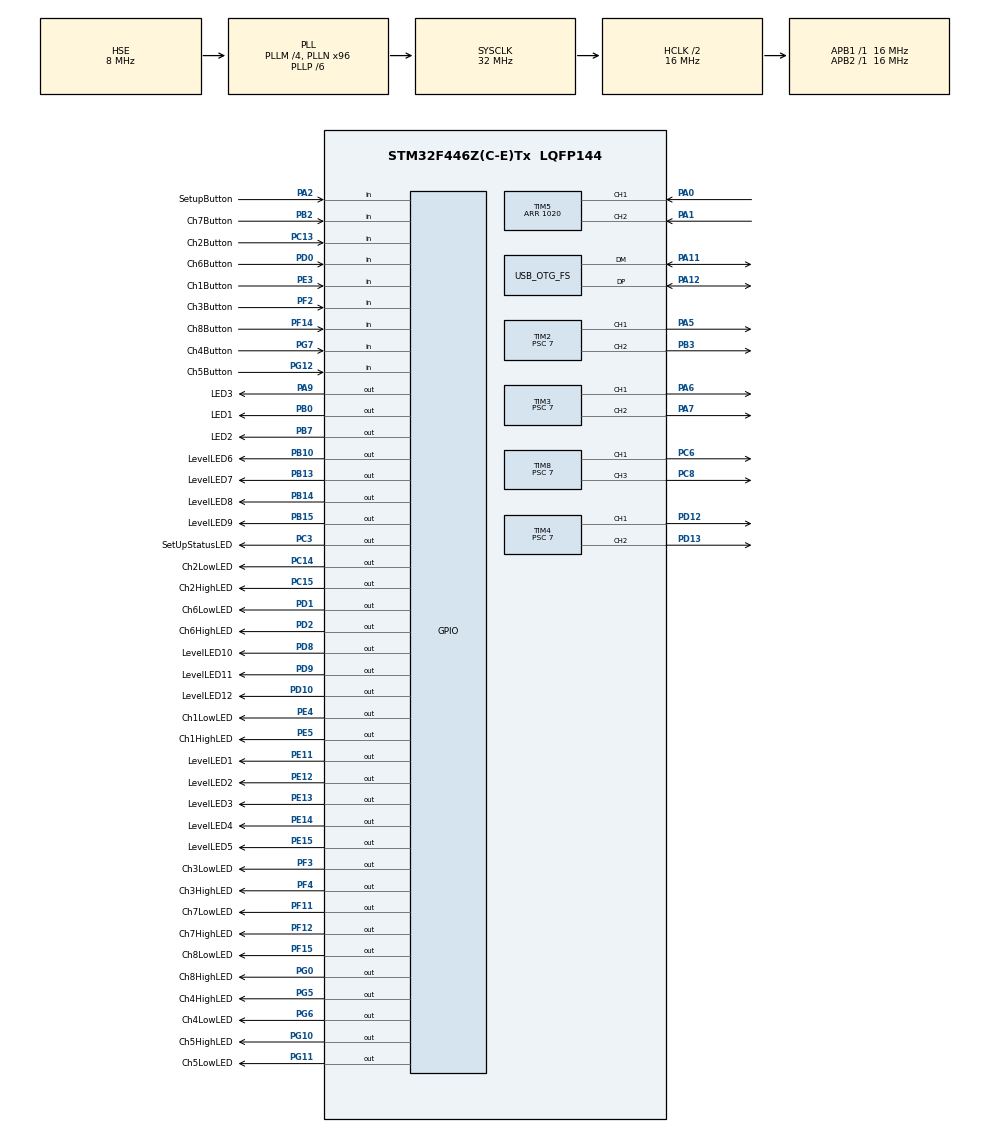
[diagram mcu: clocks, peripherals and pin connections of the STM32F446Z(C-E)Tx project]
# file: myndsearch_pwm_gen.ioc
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Mcu.Family=STM32F4
Mcu.Name=STM32F446Z(C-E)Tx
Mcu.Package=LQFP144
NVIC.OTG_FS_IRQn=true\:0\:0\:false\:false\:true\:false\:true\:true
NVIC.PriorityGroup=NVIC_PRIORITYGROUP_4
PA0-WKUP.Signal=S_TIM5_CH1
PA1.Signal=S_TIM5_CH2
PA11.Mode=Device_Only
PA11.Signal=USB_OTG_FS_DM
PA12.Mode=Device_Only
PA12.Signal=USB_OTG_FS_DP
PA13.Mode=Serial_Wire
PA13.Signal=SYS_JTMS-SWDIO
PA14.Mode=Serial_Wire
PA14.Signal=SYS_JTCK-SWCLK
PA2.GPIO_Label=SetupButton
PA2.Signal=GPIO_Input
PA5.Signal=S_TIM2_CH1_ETR
PA6.Signal=S_TIM3_CH1
PA7.Signal=S_TIM3_CH2
PA9.GPIO_Label=LED3
PA9.Signal=GPIO_Output
PB0.GPIO_Label=LED1
PB0.Signal=GPIO_Output
PB10.GPIO_Label=LevelLED6
PB10.Signal=GPIO_Output
PB13.GPIO_Label=LevelLED7
PB13.Signal=GPIO_Output
PB14.GPIO_Label=LevelLED8
PB14.Signal=GPIO_Output
PB15.GPIO_Label=LevelLED9
PB15.Signal=GPIO_Output
PB2.GPIO_Label=Ch7Button
PB2.Signal=GPIO_Input
PB3.Signal=S_TIM2_CH2
PB7.GPIO_Label=LED2
PB7.Signal=GPIO_Output
PC13.GPIO_Label=Ch2Button
PC13.Signal=GPIO_Input
PC14-OSC32_IN.GPIO_Label=Ch2LowLED
PC14-OSC32_IN.Signal=GPIO_Output
PC15-OSC32_OUT.GPIO_Label=Ch2HighLED
PC15-OSC32_OUT.Signal=GPIO_Output
PC3.GPIO_Label=SetUpStatusLED
PC3.Signal=GPIO_Output
PC6.Signal=S_TIM8_CH1
PC8.Signal=S_TIM8_CH3
PD0.GPIO_Label=Ch6Button
PD0.Signal=GPIO_Input
PD1.GPIO_Label=Ch6LowLED
PD1.Signal=GPIO_Output
PD10.GPIO_Label=LevelLED12
PD10.Signal=GPIO_Output
PD12.Signal=S_TIM4_CH1
PD13.Signal=S_TIM4_CH2
PD2.GPIO_Label=Ch6HighLED
PD2.Signal=GPIO_Output
PD8.GPIO_Label=LevelLED10
PD8.Signal=GPIO_Output
PD9.GPIO_Label=LevelLED11
PD9.Signal=GPIO_Output
PE11.GPIO_Label=LevelLED1
PE11.Signal=GPIO_Output
PE12.GPIO_Label=LevelLED2
PE12.Signal=GPIO_Output
PE13.GPIO_Label=LevelLED3
PE13.Signal=GPIO_Output
PE14.GPIO_Label=LevelLED4
PE14.Signal=GPIO_Output
PE15.GPIO_Label=LevelLED5
PE15.Signal=GPIO_Output
PE3.GPIO_Label=Ch1Button
PE3.Signal=GPIO_Input
PE4.GPIO_Label=Ch1LowLED
PE4.Signal=GPIO_Output
PE5.GPIO_Label=Ch1HighLED
PE5.Signal=GPIO_Output
PF11.GPIO_Label=Ch7LowLED
PF11.Signal=GPIO_Output
PF12.GPIO_Label=Ch7HighLED
PF12.Signal=GPIO_Output
PF14.GPIO_Label=Ch8Button
PF14.Signal=GPIO_Input
PF15.GPIO_Label=Ch8LowLED
PF15.Signal=GPIO_Output
PF2.GPIO_Label=Ch3Button
PF2.Signal=GPIO_Input
PF3.GPIO_Label=Ch3LowLED
PF3.Signal=GPIO_Output
PF4.GPIO_Label=Ch3HighLED
PF4.Signal=GPIO_Output
PG0.GPIO_Label=Ch8HighLED
PG0.Signal=GPIO_Output
PG10.GPIO_Label=Ch5HighLED
PG10.Signal=GPIO_Output
PG11.GPIO_Label=Ch5LowLED
PG11.Signal=GPIO_Output
PG12.GPIO_Label=Ch5Button
PG12.Signal=GPIO_Input
PG5.GPIO_Label=Ch4HighLED
PG5.Signal=GPIO_Output
PG6.GPIO_Label=Ch4LowLED
PG6.Signal=GPIO_Output
PG7.GPIO_Label=Ch4Button
PG7.Signal=GPIO_Input
PH0-OSC_IN.Mode=HSE-External-Oscillator
PH0-OSC_IN.Signal=RCC_OSC_IN
PH1-OSC_OUT.Mode=HSE-External-Oscillator
PH1-OSC_OUT.Signal=RCC_OSC_OUT
ProjectManager.HeapSize=0x200
ProjectManager.StackSize=0x400
ProjectManager.TargetToolchain=STM32CubeIDE
RCC.AHBCLKDivider=RCC_SYSCLK_DIV2
RCC.AHBFreq_Value=16000000
RCC.APB1Freq_Value=16000000
RCC.APB1TimFreq_Value=16000000
RCC.APB2Freq_Value=16000000
RCC.APB2TimFreq_Value=16000000
RCC.CortexFreq_Value=16000000
RCC.HCLKFreq_Value=16000000
RCC.HSE_VALUE=8000000
RCC.PLLM=4
RCC.PLLN=96
RCC.PLLP=RCC_PLLP_DIV6
RCC.PLLQ=4
RCC.SYSCLKFreq_VALUE=32000000
RCC.SYSCLKSource=RCC_SYSCLKSOURCE_PLLCLK
RCC.USBFreq_Value=48000000
RCC.VCOOutputFreq_Value=192000000
SH.S_TIM2_CH1_ETR.0=TIM2_CH1,PWM Generation1 CH1
SH.S_TIM2_CH2.0=TIM2_CH2,PWM Generation2 CH2
SH.S_TIM3_CH1.0=TIM3_CH1,PWM Generation1 CH1
SH.S_TIM3_CH2.0=TIM3_CH2,PWM Generation2 CH2
SH.S_TIM4_CH1.0=TIM4_CH1,PWM Generation1 CH1
SH.S_TIM4_CH2.0=TIM4_CH2,PWM Generation2 CH2
SH.S_TIM5_CH1.0=TIM5_CH1,Encoder_Interface
SH.S_TIM5_CH2.0=TIM5_CH2,Encoder_Interface
SH.S_TIM8_CH1.0=TIM8_CH1,PWM Generation1 CH1
SH.S_TIM8_CH3.0=TIM8_CH3,PWM Generation3 CH3
TIM2.AutoReloadPreload=TIM_AUTORELOAD_PRELOAD_ENABLE
TIM2.Channel-PWM\ Generation1\ CH1=TIM_CHANNEL_1
TIM2.Channel-PWM\ Generation2\ CH2=TIM_CHANNEL_2
TIM2.Period=9999
TIM2.Prescaler=7
TIM2.Pulse-PWM\ Generation1\ CH1=0
TIM3.AutoReloadPreload=TIM_AUTORELOAD_PRELOAD_ENABLE
TIM3.Channel-PWM\ Generation1\ CH1=TIM_CHANNEL_1
TIM3.Channel-PWM\ Generation2\ CH2=TIM_CHANNEL_2
TIM3.Period=9999
TIM3.Prescaler=7
TIM4.AutoReloadPreload=TIM_AUTORELOAD_PRELOAD_ENABLE
TIM4.Channel-PWM\ Generation1\ CH1=TIM_CHANNEL_1
TIM4.Channel-PWM\ Generation2\ CH2=TIM_CHANNEL_2
TIM4.Period=9999
TIM4.Prescaler=7
TIM5.AutoReloadPreload=TIM_AUTORELOAD_PRELOAD_DISABLE
TIM5.EncoderMode=TIM_ENCODERMODE_TI12
TIM5.IC1Filter=10
TIM5.Period=1020
TIM8.AutoReloadPreload=TIM_AUTORELOAD_PRELOAD_ENABLE
TIM8.Channel-PWM\ Generation1\ CH1=TIM_CHANNEL_1
TIM8.Channel-PWM\ Generation3\ CH3=TIM_CHANNEL_3
TIM8.Period=9999
TIM8.Prescaler=7
USB_DEVICE.CLASS_NAME_FS=CDC
USB_DEVICE.PRODUCT_STRING_CDC_FS=MyndSearch PWM Gen
USB_DEVICE.VirtualMode-CDC_FS=Cdc
USB_DEVICE.VirtualModeFS=Cdc_FS
USB_OTG_FS.VirtualMode=Device_Only
VP_TIM2_VS_ClockSourceINT.Mode=Internal
VP_TIM3_VS_ClockSourceINT.Mode=Internal
VP_TIM4_VS_ClockSourceINT.Mode=Internal
VP_TIM8_VS_ClockSourceINT.Mode=Internal
VP_USB_DEVICE_VS_USB_DEVICE_CDC_FS.Mode=CDC_FS
board=custom

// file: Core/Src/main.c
/* USER CODE BEGIN Header */
/**
  ******************************************************************************
  * @file           : main.c
  * @brief          : Main program body
  ******************************************************************************
  * @attention
  *
  * Copyright (c) 2025 STMicroelectronics.
  * All rights reserved.
  *
  * This software is licensed under terms that can be found in the LICENSE file
  * in the root directory of this software component.
  * If no LICENSE file comes with this software, it is provided AS-IS.
  *
  ******************************************************************************
  */
/* USER CODE END Header */
#include "main.h"
#include "usb_device.h"

/* USER CODE BEGIN Includes */
#include "stdio.h"
/* USER CODE END Includes */

/* USER CODE BEGIN PD */

#define DEBOUNCE_THRESHOLD 3

/*uint8_t debounceButton(GPIO_TypeDef *GPIOx, uint16_t GPIO_Pin) {
    static uint8_t counter = 0;  // Debounce counter
    static uint8_t buttonState = 0;  // Stores the stable state of the button

    if (HAL_GPIO_ReadPin(GPIOx, GPIO_Pin) == GPIO_PIN_RESET) {
        if (counter < DEBOUNCE_THRESHOLD) counter++;
    } else {
        if (counter > 0) counter--;
    }

    if (counter >= DEBOUNCE_THRESHOLD) {
        buttonState = 1;
    } else {
        buttonState = 0;
    }

    return buttonState;
}*/

// RELEVANT VARIABLES/ARRAYS
//value from usb
uint8_t channel_value[8] = {0};

//duty cycle value
//uint8_t dutyCycle[8] = {0};
//sample values
uint8_t test[8] = {128, 0, 0, 0, 0 , 0, 0, 0};

// Value for Saving Dlow and Dhigh
// 0 and 1 for channel 1 low, high
// 2 and 3 for channel 2, low, high, etc.
uint8_t duty_cycle_limits[16] = {0};

//Update PWM Function - MEANT TO BE USED DURING OPERATION, NOT FOR TUNING, need to map it to dlow dhigh range
static void updatePWMValues(uint8_t* newDutyCycle) {
    int dutyCycle[8] = {0};

      uint8_t TxBuffer[100] = {'\0'};
      uint8_t TxBufferLen = 100;

    for (int i = 0; i < 8; i++) {
        uint8_t index_low = i * 2;
        uint8_t index_high = index_low + 1;

        // Get the stored Dlow and Dhigh values
        uint8_t Dlow = duty_cycle_limits[index_low];
        uint8_t Dhigh = duty_cycle_limits[index_high];
        //uint8_t Dlow = 0;
        //uint8_t Dhigh = 255;

        // Scale the input value (0-255) to the range between Dlow and Dhigh
        // This produces an integer that may range from 0 to 255
        dutyCycle[i] =  (Dlow +  (((255 - newDutyCycle[i]) * (Dhigh - Dlow)) / 255));

        // Apply the updated duty cycle to the corresponding PWM channel
        switch (i + 1) {
            case 1: TIM3->CCR2 = (dutyCycle[i] * ((TIM3->ARR)+1) ) / 255; break;
            case 2: TIM3->CCR1 = (dutyCycle[i] * ((TIM3->ARR)+1) ) / 255; break;
            case 3: TIM2->CCR1 = (dutyCycle[i] * ((TIM2->ARR)+1) ) / 255; break;
            case 4: TIM4->CCR1 = (dutyCycle[i] * ((TIM4->ARR)+1) ) / 255; break;
            case 5: TIM4->CCR2 = (dutyCycle[i] * ((TIM4->ARR)+1) ) / 255; break;
            case 6: TIM2->CCR2 = (dutyCycle[i] * ((TIM2->ARR)+1) ) / 255; break;
            case 7: TIM8->CCR1 = (dutyCycle[i] * ((TIM8->ARR)+1) ) / 255; break;
            case 8: TIM8->CCR3 = (dutyCycle[i] * ((TIM8->ARR)+1) ) / 255; break;
        }
    }
     //dutyCycle [0] = (newDutyCycle[0] * 10000) / 255;
     //TIM3->CCR2 = dutyCycle[0];
    //sprintf(TxBuffer, "channel1 duty cycle = %d\n", TIM3->CCR2);
    //CDC_Transmit_FS(TxBuffer, TxBufferLen);
}

// Test Rotary Encoder
void RotaryEncoderTest(){
	uint8_t TxBuffer[50] = {'\0'};
	uint8_t TxBufferLen = 50;

	// Start all counter at 0 anyway
	TIM5->CNT = 0;
	while(1)
	{
		// See rotary value can change
		sprintf(TxBuffer, "Encoder Counter Value = %d\n\r", (TIM5->CNT>>2));
		CDC_Transmit_FS(TxBuffer, TxBufferLen);
		HAL_Delay(100);

		if(!HAL_GPIO_ReadPin(GPIOA, GPIO_PIN_2))
		{
			sprintf(TxBuffer, "Button Pressed\n");
			CDC_Transmit_FS(TxBuffer, TxBufferLen);
			break;
		}
	}
}

// Actual Rotary Encoder Usage
void Set_DLow_and_DHigh_For_Channel(uint8_t channel) {
    if (channel == 0 || channel >= 9) {
        return;
    }
	uint8_t TxBuffer[100] = {'\0'};
	uint8_t TxBufferLen = 100;

    uint8_t index_low = (channel - 1) * 2;
    uint8_t index_high = index_low + 1;

    // Initialize both duty cycle limits and reset encoder count
    duty_cycle_limits[index_low] = 0;
    duty_cycle_limits[index_high] = 0;
    TIM5->CNT = 0;

    TurnOffAllChannelLED();

    uint8_t step = 0; // 0 = tuning Dlow, 1 = tuning Dhigh

    while (step < 2) {
        uint8_t index = (step == 0) ? index_low : index_high;
        duty_cycle_limits[index] = (TIM5->CNT) >> 2;

        // Ensure values are within valid range (0-255)
        if (duty_cycle_limits[index] > 255) duty_cycle_limits[index] = 255;
        SetLevelLED(duty_cycle_limits[index_low]); //led bar
        if(step == 1) SetLevelLED(duty_cycle_limits[index_high]);
        uint32_t arr_value = 0;

        sprintf(TxBuffer, "step = %d\n\r,\n duty cycle = %d\n\r,\n index = %d\n\r,\n channel = %d\n\r,\n", step, duty_cycle_limits[index], index, channel);
        		CDC_Transmit_FS(TxBuffer, TxBufferLen);
        		HAL_Delay(1000);
        // Update PWM and turn on corresponding LED for selected channel
        switch (channel) {
            case 1: arr_value = TIM3->ARR;
                    //HAL_GPIO_WritePin(GPIOE, (step == 0) ? Ch1LowLED_Pin : Ch1HighLED_Pin, GPIO_PIN_SET);
                    HAL_GPIO_WritePin(GPIOC, SetUpStatusLED_Pin, GPIO_PIN_RESET); //setup led off
					if(step == 0){
						HAL_GPIO_WritePin(Ch1LowLED_GPIO_Port, Ch1LowLED_Pin,GPIO_PIN_SET);
						HAL_GPIO_WritePin(Ch1HighLED_GPIO_Port, Ch1HighLED_Pin,GPIO_PIN_RESET);
					 } else if(step == 1){
						HAL_GPIO_WritePin(Ch1HighLED_GPIO_Port, Ch1HighLED_Pin,GPIO_PIN_SET);
						HAL_GPIO_WritePin(Ch1LowLED_GPIO_Port, Ch1LowLED_Pin,GPIO_PIN_RESET);
					 }
                    TIM3->CCR2 = (((255 - duty_cycle_limits[index]) * (arr_value+1)) / 255);
                    break;
            case 2: arr_value = TIM3->ARR;
                    //HAL_GPIO_WritePin(GPIOC, (step == 0) ? Ch2LowLED_Pin : Ch2HighLED_Pin, GPIO_PIN_SET);
            		HAL_GPIO_WritePin(GPIOC, SetUpStatusLED_Pin, GPIO_PIN_RESET); //setup led off
					if(step == 0){
						HAL_GPIO_WritePin(Ch2LowLED_GPIO_Port, Ch2LowLED_Pin,GPIO_PIN_SET);
						HAL_GPIO_WritePin(Ch2HighLED_GPIO_Port, Ch2HighLED_Pin,GPIO_PIN_RESET);
					 } else if(step == 1){
						HAL_GPIO_WritePin(Ch2HighLED_GPIO_Port, Ch2HighLED_Pin,GPIO_PIN_SET);
						HAL_GPIO_WritePin(Ch2LowLED_GPIO_Port, Ch2LowLED_Pin,GPIO_PIN_RESET);
					 }
                    TIM3->CCR1 = (((255 - duty_cycle_limits[index]) * (arr_value+1)) / 255);
                    break;
            case 3: arr_value = TIM2->ARR;
                    //HAL_GPIO_WritePin(GPIOF, (step == 0) ? Ch3LowLED_Pin : Ch3HighLED_Pin, GPIO_PIN_SET);
            		HAL_GPIO_WritePin(GPIOC, SetUpStatusLED_Pin, GPIO_PIN_RESET); //setup led off
					if(step == 0){
						HAL_GPIO_WritePin(Ch3LowLED_GPIO_Port, Ch3LowLED_Pin,GPIO_PIN_SET);
						HAL_GPIO_WritePin(Ch3HighLED_GPIO_Port, Ch3HighLED_Pin,GPIO_PIN_RESET);
					 } else if(step == 1){
						HAL_GPIO_WritePin(Ch3HighLED_GPIO_Port, Ch3HighLED_Pin,GPIO_PIN_SET);
						HAL_GPIO_WritePin(Ch3LowLED_GPIO_Port, Ch3LowLED_Pin,GPIO_PIN_RESET);
					 }
                    TIM2->CCR1 = (((255 - duty_cycle_limits[index]) * (arr_value+1)) / 255);
                    break;
            case 4: arr_value = TIM4->ARR;
                    //HAL_GPIO_WritePin(GPIOG, (step == 0) ? Ch4LowLED_Pin : Ch4HighLED_Pin, GPIO_PIN_SET);
            		HAL_GPIO_WritePin(GPIOC, SetUpStatusLED_Pin, GPIO_PIN_RESET); //setup led off
					if(step == 0){
						HAL_GPIO_WritePin(Ch4LowLED_GPIO_Port, Ch4LowLED_Pin,GPIO_PIN_SET);
						HAL_GPIO_WritePin(Ch4HighLED_GPIO_Port, Ch4HighLED_Pin,GPIO_PIN_RESET);
					 } else if(step == 1){
						HAL_GPIO_WritePin(Ch4HighLED_GPIO_Port, Ch4HighLED_Pin,GPIO_PIN_SET);
						HAL_GPIO_WritePin(Ch4LowLED_GPIO_Port, Ch4LowLED_Pin,GPIO_PIN_RESET);
					 }
                    TIM4->CCR1 = (((255 - duty_cycle_limits[index]) * (arr_value+1)) / 255);
                    break;
            case 5: arr_value = TIM4->ARR;
                    //HAL_GPIO_WritePin(GPIOG, (step == 0) ? Ch5LowLED_Pin : Ch5HighLED_Pin, GPIO_PIN_SET);
            		HAL_GPIO_WritePin(GPIOC, SetUpStatusLED_Pin, GPIO_PIN_RESET); //setup led off
            		if(step == 0){
						HAL_GPIO_WritePin(Ch5LowLED_GPIO_Port, Ch5LowLED_Pin,GPIO_PIN_SET);
						HAL_GPIO_WritePin(Ch5HighLED_GPIO_Port, Ch5HighLED_Pin,GPIO_PIN_RESET);
					 } else if(step == 1){
						HAL_GPIO_WritePin(Ch5HighLED_GPIO_Port, Ch5HighLED_Pin,GPIO_PIN_SET);
						HAL_GPIO_WritePin(Ch5LowLED_GPIO_Port, Ch5LowLED_Pin,GPIO_PIN_RESET);
					 }
                    TIM4->CCR2 = (((255 - duty_cycle_limits[index]) * (arr_value+1)) / 255);
                    break;
            case 6: arr_value = TIM2->ARR;
                    //HAL_GPIO_WritePin(GPIOD, (step == 0) ? Ch6LowLED_Pin : Ch6HighLED_Pin, GPIO_PIN_SET);
            		HAL_GPIO_WritePin(GPIOC, SetUpStatusLED_Pin, GPIO_PIN_RESET); //setup led off
					if(step == 0){
						HAL_GPIO_WritePin(Ch6LowLED_GPIO_Port, Ch6LowLED_Pin,GPIO_PIN_SET);
						HAL_GPIO_WritePin(Ch6HighLED_GPIO_Port, Ch6HighLED_Pin,GPIO_PIN_RESET);
					 } else if(step == 1){
						HAL_GPIO_WritePin(Ch6HighLED_GPIO_Port, Ch6HighLED_Pin,GPIO_PIN_SET);
						HAL_GPIO_WritePin(Ch6LowLED_GPIO_Port, Ch6LowLED_Pin,GPIO_PIN_RESET);
					 }
                    TIM2->CCR2 = (((255 - duty_cycle_limits[index]) * (arr_value+1)) / 255);
                    break;
            case 7: arr_value = TIM8->ARR;
                    //HAL_GPIO_WritePin(GPIOF, (step == 0) ? Ch7LowLED_Pin : Ch7HighLED_Pin, GPIO_PIN_SET);
            		HAL_GPIO_WritePin(GPIOC, SetUpStatusLED_Pin, GPIO_PIN_RESET); //setup led off
                    if(step == 0){
						HAL_GPIO_WritePin(Ch7LowLED_GPIO_Port, Ch7LowLED_Pin,GPIO_PIN_SET);
						HAL_GPIO_WritePin(Ch7HighLED_GPIO_Port, Ch7HighLED_Pin,GPIO_PIN_RESET);
					 } else if(step == 1){
						HAL_GPIO_WritePin(Ch7HighLED_GPIO_Port, Ch7HighLED_Pin,GPIO_PIN_SET);
						HAL_GPIO_WritePin(Ch7LowLED_GPIO_Port, Ch7LowLED_Pin,GPIO_PIN_RESET);
					 }
                    TIM8->CCR1 = (((255 - duty_cycle_limits[index]) * (arr_value+1)) / 255);
                    break;
            case 8: arr_value = TIM8->ARR;
                    //HAL_GPIO_WritePin(GPIOG, (step == 0) ? Ch8LowLED_Pin : Ch8HighLED_Pin, GPIO_PIN_SET);
            		HAL_GPIO_WritePin(GPIOC, SetUpStatusLED_Pin, GPIO_PIN_RESET); //setup led off
                    if(step == 0){
                    	HAL_GPIO_WritePin(Ch8LowLED_GPIO_Port, Ch8LowLED_Pin,GPIO_PIN_SET);
                    	HAL_GPIO_WritePin(Ch8HighLED_GPIO_Port, Ch8HighLED_Pin,GPIO_PIN_RESET);
                    } else if(step == 1){
                    	HAL_GPIO_WritePin(Ch8HighLED_GPIO_Port, Ch8HighLED_Pin,GPIO_PIN_SET);
                    	HAL_GPIO_WritePin(Ch8LowLED_GPIO_Port, Ch8LowLED_Pin,GPIO_PIN_RESET);
                    }
                    TIM8->CCR3 = (((255 - duty_cycle_limits[index]) * (arr_value+1)) / 255);
                    break;
        }

        // Move `SetLevelLED()` here to ensure LEDs update before `continue;
        SetLevelLED(duty_cycle_limits[index]);

        // Check if the setup button is pressed to move to the next step
        if (HAL_GPIO_ReadPin(GPIOA, SetupButton_Pin) == 0) {

            HAL_Delay(50);  // Debounce delay

            // Confirm that the button is still pressed after debounce time
            if (HAL_GPIO_ReadPin(GPIOA, SetupButton_Pin) == 0) {
                step++;  // Move to the next step (Dlow → Dhigh)
                TurnAllLevelLEDOff();  // Reset LEDs before the next step
                TIM5->CNT = 0;  // Reset encoder count for the next step
            }
        }
    }

    TurnOffAllChannelLED();
}

void TurnOffAllChannelLED(){
	HAL_GPIO_WritePin(GPIOE, Ch1LowLED_Pin, GPIO_PIN_RESET);
	HAL_GPIO_WritePin(GPIOE, Ch1HighLED_Pin, GPIO_PIN_RESET);

	HAL_GPIO_WritePin(GPIOC, Ch2LowLED_Pin, GPIO_PIN_RESET);
	HAL_GPIO_WritePin(GPIOC, Ch2HighLED_Pin, GPIO_PIN_RESET);

	HAL_GPIO_WritePin(GPIOF, Ch3LowLED_Pin, GPIO_PIN_RESET);
	HAL_GPIO_WritePin(GPIOF, Ch3HighLED_Pin, GPIO_PIN_RESET);

	HAL_GPIO_WritePin(GPIOG, Ch4LowLED_Pin, GPIO_PIN_RESET);
	HAL_GPIO_WritePin(GPIOG, Ch4HighLED_Pin, GPIO_PIN_RESET);

	HAL_GPIO_WritePin(GPIOG, Ch5LowLED_Pin, GPIO_PIN_RESET);
	HAL_GPIO_WritePin(GPIOG, Ch5HighLED_Pin, GPIO_PIN_RESET);

	HAL_GPIO_WritePin(GPIOD, Ch6LowLED_Pin, GPIO_PIN_RESET);
	HAL_GPIO_WritePin(GPIOD, Ch6HighLED_Pin, GPIO_PIN_RESET);

	HAL_GPIO_WritePin(GPIOF, Ch7LowLED_Pin, GPIO_PIN_RESET);
	HAL_GPIO_WritePin(GPIOF, Ch7HighLED_Pin, GPIO_PIN_RESET);

	HAL_GPIO_WritePin(GPIOF, Ch8LowLED_Pin, GPIO_PIN_RESET);
	HAL_GPIO_WritePin(GPIOG, Ch8HighLED_Pin, GPIO_PIN_RESET);
}

void TurnAllLevelLEDOff(){
	HAL_GPIO_WritePin(GPIOE, LevelLED1_Pin, GPIO_PIN_RESET);
	HAL_GPIO_WritePin(GPIOE, LevelLED2_Pin, GPIO_PIN_RESET);
	HAL_GPIO_WritePin(GPIOE, LevelLED3_Pin, GPIO_PIN_RESET);
	HAL_GPIO_WritePin(GPIOE, LevelLED4_Pin, GPIO_PIN_RESET);
	HAL_GPIO_WritePin(GPIOE, LevelLED5_Pin, GPIO_PIN_RESET);
	HAL_GPIO_WritePin(GPIOB, LevelLED6_Pin, GPIO_PIN_RESET);
	HAL_GPIO_WritePin(GPIOB, LevelLED7_Pin, GPIO_PIN_RESET);
	HAL_GPIO_WritePin(GPIOB, LevelLED8_Pin, GPIO_PIN_RESET);
	HAL_GPIO_WritePin(GPIOB, LevelLED9_Pin, GPIO_PIN_RESET);
	HAL_GPIO_WritePin(GPIOD, LevelLED10_Pin, GPIO_PIN_RESET);
	HAL_GPIO_WritePin(GPIOD, LevelLED11_Pin, GPIO_PIN_RESET);
	HAL_GPIO_WritePin(GPIOD, LevelLED12_Pin, GPIO_PIN_RESET);
}

void SetLevelLED(uint8_t level) {
	// level is 0 to 255
	// There are 12 pins, not the finest division
	TurnAllLevelLEDOff();

	// Fall through and set all LEDs below level on to indicate that much power via LED
	switch((uint8_t)(level/21)){
	case 12:
		HAL_GPIO_WritePin(GPIOD, LevelLED12_Pin, GPIO_PIN_SET);
	case 11:
		HAL_GPIO_WritePin(GPIOD, LevelLED11_Pin, GPIO_PIN_SET);
	case 10:
		HAL_GPIO_WritePin(GPIOD, LevelLED10_Pin, GPIO_PIN_SET);
	case 9:
		HAL_GPIO_WritePin(GPIOB, LevelLED9_Pin, GPIO_PIN_SET);
	case 8:
		HAL_GPIO_WritePin(GPIOB, LevelLED8_Pin, GPIO_PIN_SET);
	case 7:
		HAL_GPIO_WritePin(GPIOB, LevelLED7_Pin, GPIO_PIN_SET);
	case 6:
		HAL_GPIO_WritePin(GPIOB, LevelLED6_Pin, GPIO_PIN_SET);
	case 5:
		HAL_GPIO_WritePin(GPIOE, LevelLED5_Pin, GPIO_PIN_SET);
	case 4:
		HAL_GPIO_WritePin(GPIOE, LevelLED4_Pin, GPIO_PIN_SET);
	case 3:
		HAL_GPIO_WritePin(GPIOE, LevelLED3_Pin, GPIO_PIN_SET);
	case 2:
		HAL_GPIO_WritePin(GPIOE, LevelLED2_Pin, GPIO_PIN_SET);
	case 1:
		HAL_GPIO_WritePin(GPIOE, LevelLED1_Pin, GPIO_PIN_SET);
	default:
	}

}

// Test Function to just verify you can program STM32
void Flash_LED(){
	HAL_GPIO_TogglePin (GPIOB, LED1_Pin);
	HAL_GPIO_TogglePin (GPIOB, LED2_Pin);
	HAL_GPIO_TogglePin (GPIOA, LED3_Pin);
	HAL_Delay(500);
}

// Test function to verify that Python Script successfully wrote data into STM32
// Basically, just reads channel_value[0] and shows its lowest 3 bits
// Since Python goes from 0 to 10, we expect to see:
// 000, 001, 010, 011, 100, 101, 110, 111, (1)000, (1)001, (1)010, then repeat
void Display_First_Channel_Smallest3Bits() {
	uint8_t testbyte = channel_value[0];
	if(testbyte & 1U){
	  HAL_GPIO_WritePin(GPIOB, LED1_Pin, GPIO_PIN_SET);
	}
	else{
	  HAL_GPIO_WritePin(GPIOB, LED1_Pin, GPIO_PIN_RESET);
	}
	if(testbyte & 2U){
	  HAL_GPIO_WritePin(GPIOB, LED2_Pin, GPIO_PIN_SET);
	}
	else{
	  HAL_GPIO_WritePin(GPIOB, LED2_Pin, GPIO_PIN_RESET);
	}
	if(testbyte & 4U){
	  HAL_GPIO_WritePin(GPIOB, LED3_Pin, GPIO_PIN_SET);
	}
	else{
	  HAL_GPIO_WritePin(GPIOB, LED3_Pin, GPIO_PIN_RESET);
	}
	HAL_Delay(100);
}

// Below is the Handler, Called from CDC_Receive_FS() in USB_DEVICE -> App -> usbd_cdc_if.c
// Make Edits there

void USB_CDC_RxHandler(uint8_t* Buf, uint32_t Len)
{
//	HAL_GPIO_TogglePin (GPIOB, LED2_Pin);
	for(int i = 0; i<8; i++){
		channel_value[i] = Buf[i];
	}
	//currentState = SETUP_STATE;
//	HAL_GPIO_TogglePin (GPIOB, LED2_Pin);
}
/* USER CODE END PD */

TIM_HandleTypeDef htim2;
TIM_HandleTypeDef htim3;
TIM_HandleTypeDef htim4;
TIM_HandleTypeDef htim5;
TIM_HandleTypeDef htim8;

void SystemClock_Config(void);
static void MX_GPIO_Init(void);
static void MX_TIM2_Init(void);
static void MX_TIM3_Init(void);
static void MX_TIM4_Init(void);
static void MX_TIM8_Init(void);
static void MX_TIM5_Init(void);
/* USER CODE BEGIN PFP */
//static void updatePWMValues(uint8_t newDutyCycle[8]);
/* USER CODE END PFP */

/* USER CODE BEGIN 0 */
enum SystemState {

		IDLE_STATE,
		SETUP_STATE,
		RUNNING_STATE,
		ERROR_STATE

};

//#define DEBOUNCE_DELAY 50       // Debounce time for button press
#define SHORT_PRESS_DELAY 500   // Short press allows configuring another channel
#define LONG_PRESS_DELAY 5000   // Long press moves to running mode

uint32_t lastPressTime[9] = {0}; // Stores timestamps for all buttons
uint8_t channelsConfigured = 0;  // Keeps track of configured channels

// Function to debounce a button
uint8_t isButtonPressed(GPIO_TypeDef *GPIOx, uint16_t GPIO_Pin, uint8_t buttonIndex) {
    if (HAL_GPIO_ReadPin(GPIOx, GPIO_Pin) == GPIO_PIN_RESET) {
        if ((HAL_GetTick() - lastPressTime[buttonIndex]) > DEBOUNCE_DELAY) {
            lastPressTime[buttonIndex] = HAL_GetTick();
            return 1;  // Button is debounced
        }
    }
    return 0;  // Button is not pressed or bouncing
}

void System_Run() {
    enum SystemState currentState = IDLE_STATE;
    uint8_t TxBuffer[100] = {'\0'};
    uint8_t TxBufferLen = 100;
    uint32_t setupButtonPressTime = 0;

    while (1) {
        switch (currentState) {
            case IDLE_STATE:
                HAL_GPIO_WritePin(GPIOC, SetUpStatusLED_Pin, GPIO_PIN_RESET);

                if (isButtonPressed(SetupButton_GPIO_Port, SetupButton_Pin, 0)) {
                    setupButtonPressTime = HAL_GetTick();
                    currentState = SETUP_STATE;
                    sprintf(TxBuffer, "Entering setup state\n");
                    CDC_Transmit_FS(TxBuffer, TxBufferLen);
                }
                break;

            case SETUP_STATE:
                HAL_GPIO_WritePin(GPIOC, SetUpStatusLED_Pin, GPIO_PIN_SET);
                sprintf(TxBuffer, "In setup state - Configure channels\n");
                CDC_Transmit_FS(TxBuffer, TxBufferLen);

                // Check for channel button presses
                for (int i = 1; i <= 8; i++) {
                    GPIO_TypeDef *gpioPort;
                    uint16_t gpioPin;

                    // Assign GPIO ports & pins dynamically
                    switch (i) {
                        case 1: gpioPort = Ch1Button_GPIO_Port; gpioPin = Ch1Button_Pin; break;
                        case 2: gpioPort = Ch2Button_GPIO_Port; gpioPin = Ch2Button_Pin; break;
                        case 3: gpioPort = Ch3Button_GPIO_Port; gpioPin = Ch3Button_Pin; break;
                        case 4: gpioPort = Ch4Button_GPIO_Port; gpioPin = Ch4Button_Pin; break;
                        case 5: gpioPort = Ch5Button_GPIO_Port; gpioPin = Ch5Button_Pin; break;
                        case 6: gpioPort = Ch6Button_GPIO_Port; gpioPin = Ch6Button_Pin; break;
                        case 7: gpioPort = Ch7Button_GPIO_Port; gpioPin = Ch7Button_Pin; break;
                        case 8: gpioPort = Ch8Button_GPIO_Port; gpioPin = Ch8Button_Pin; break;
                    }

                    if (isButtonPressed(gpioPort, gpioPin, i)) {
                        sprintf(TxBuffer, "Button %d pressed! Configuring Channel %d\n", i, i);
                        CDC_Transmit_FS(TxBuffer, TxBufferLen);
                        Set_DLow_and_DHigh_For_Channel(i);
                        channelsConfigured++;  // Track how many channels were configured
                    }
                }
                HAL_Delay(1000);
                // Check if setup button is pressed again
                if (HAL_GPIO_ReadPin(SetupButton_GPIO_Port, SetupButton_Pin) == GPIO_PIN_RESET) {
                    uint32_t pressDuration = HAL_GetTick() - setupButtonPressTime;

                    if (pressDuration >= LONG_PRESS_DELAY) {
                        sprintf(TxBuffer, "Long press detected! Moving to RUNNING_STATE\n");
                        CDC_Transmit_FS(TxBuffer, TxBufferLen);
                        currentState = RUNNING_STATE;
                    } else if (pressDuration >= SHORT_PRESS_DELAY && pressDuration < LONG_PRESS_DELAY) {
                        sprintf(TxBuffer, "Short press detected! Allowing another channel setup\n");
                        CDC_Transmit_FS(TxBuffer, TxBufferLen);
                    }
                } else {
                    setupButtonPressTime = HAL_GetTick(); // Reset when button is released
                }
                break;

            case RUNNING_STATE:
                updatePWMValues(channel_value);
                HAL_GPIO_WritePin(GPIOC, SetUpStatusLED_Pin, GPIO_PIN_RESET);
                Flash_LED();

                sprintf(TxBuffer, "duty cycle channel 1 low = %d \n , high = %d  \n" , duty_cycle_limits[0], duty_cycle_limits[1]);
                CDC_Transmit_FS(TxBuffer, TxBufferLen);
                HAL_Delay(50);

                sprintf(TxBuffer, "duty cycle channel 2 low = %d \n , high = %d  \n" , duty_cycle_limits[2], duty_cycle_limits[3]);
				CDC_Transmit_FS(TxBuffer, TxBufferLen);
				HAL_Delay(50);

				sprintf(TxBuffer, "duty cycle channel 3 low = %d \n , high = %d  \n" , duty_cycle_limits[4], duty_cycle_limits[5]);
				CDC_Transmit_FS(TxBuffer, TxBufferLen);
				HAL_Delay(50);

				sprintf(TxBuffer, "duty cycle channel 4 low = %d \n , high = %d  \n" , duty_cycle_limits[6], duty_cycle_limits[7]);
				CDC_Transmit_FS(TxBuffer, TxBufferLen);
				HAL_Delay(50);

				sprintf(TxBuffer, "duty cycle channel 5 low = %d \n , high = %d  \n" , duty_cycle_limits[8], duty_cycle_limits[9]);
				CDC_Transmit_FS(TxBuffer, TxBufferLen);
				HAL_Delay(50);

				sprintf(TxBuffer, "duty cycle channel 6 low = %d \n , high = %d  \n" , duty_cycle_limits[10], duty_cycle_limits[11]);
				CDC_Transmit_FS(TxBuffer, TxBufferLen);
				HAL_Delay(50);

				sprintf(TxBuffer, "duty cycle channel 7 low = %d \n , high = %d  \n" , duty_cycle_limits[12], duty_cycle_limits[13]);
				CDC_Transmit_FS(TxBuffer, TxBufferLen);
				HAL_Delay(50);

				sprintf(TxBuffer, "duty cycle channel 8 low = %d \n , high = %d  \n" , duty_cycle_limits[14], duty_cycle_limits[15]);
				CDC_Transmit_FS(TxBuffer, TxBufferLen);
				HAL_Delay(50);

                if (isButtonPressed(SetupButton_GPIO_Port, SetupButton_Pin, 0)) {
                    sprintf(TxBuffer, "Setup button pressed! Returning to setup state\n");
                    CDC_Transmit_FS(TxBuffer, TxBufferLen);
                    currentState = SETUP_STATE;
                }
                break;

            case ERROR_STATE:
                HAL_GPIO_WritePin(GPIOC, SetUpStatusLED_Pin, GPIO_PIN_RESET);
                HAL_GPIO_WritePin(GPIOB, LED1_Pin, GPIO_PIN_SET);
                currentState = IDLE_STATE;
                break;

            default:
                currentState = ERROR_STATE;
                break;
        }
    }
}

/*uint8_t lastPressTime = 0;
void System_Run() {
    enum SystemState currentState = IDLE_STATE;
    uint8_t TxBuffer[100] = {'\0'};
    uint8_t TxBufferLen = 100;

    while(1){
        switch(currentState){
            case IDLE_STATE:
                HAL_GPIO_WritePin(GPIOC, SetUpStatusLED_Pin, GPIO_PIN_RESET);
                if (HAL_GPIO_ReadPin(SetupButton_GPIO_Port, SetupButton_Pin) == 0 &&
                                    (HAL_GetTick() - lastPressTime) > DEBOUNCE_DELAY) {
                                    lastPressTime = HAL_GetTick(); // Update last press time
                                    currentState = SETUP_STATE;
                                }
                sprintf(TxBuffer, "we are in idle\n");
                       		CDC_Transmit_FS(TxBuffer, TxBufferLen);
                       		HAL_Delay(1000);
                break;

            case SETUP_STATE:
                HAL_GPIO_WritePin(GPIOC, SetUpStatusLED_Pin, GPIO_PIN_SET); // Setup LED ON
                sprintf(TxBuffer, "we are in setup\n");
                       		CDC_Transmit_FS(TxBuffer, TxBufferLen);
                       		HAL_Delay(1000);
                       		if (HAL_GPIO_ReadPin(Ch1Button_GPIO_Port, Ch1Button_Pin) == 0 &&
                       		                    (HAL_GetTick() - lastPressTime) > DEBOUNCE_DELAY) {
                       		                    lastPressTime = HAL_GetTick();
                       		                    sprintf(TxBuffer, "Button 1 Pressed\n");
                       		                    CDC_Transmit_FS(TxBuffer, TxBufferLen);
                       		                    Set_DLow_and_DHigh_For_Channel(1);
                       		                }
                          else if(!HAL_GPIO_ReadPin(Ch2Button_GPIO_Port, Ch2Button_Pin)) {
                        	  HAL_Delay(50);
                        	  sprintf(TxBuffer, "button 2 pressed\n");
                        	                         		CDC_Transmit_FS(TxBuffer, TxBufferLen);
                        	                         		HAL_Delay(1000);
                        	  Set_DLow_and_DHigh_For_Channel(2);
                          }
                          else if(!HAL_GPIO_ReadPin(Ch3Button_GPIO_Port, Ch3Button_Pin)) {
                        	  HAL_Delay(50);
                        	  sprintf(TxBuffer, "button 3 pressed\n");
                        	                         		CDC_Transmit_FS(TxBuffer, TxBufferLen);
                        	                         		HAL_Delay(1000);
                        	  Set_DLow_and_DHigh_For_Channel(3);
                          }
                          else if(!HAL_GPIO_ReadPin(Ch4Button_GPIO_Port, Ch4Button_Pin)) {
                        	  HAL_Delay(50);
                        	  sprintf(TxBuffer, "button 4 pressed\n");
                        	                         		CDC_Transmit_FS(TxBuffer, TxBufferLen);
                        	                         		HAL_Delay(1000);
                        	  Set_DLow_and_DHigh_For_Channel(4);
                          }
                          else if(!HAL_GPIO_ReadPin(Ch5Button_GPIO_Port, Ch5Button_Pin)) {
                        	  HAL_Delay(50);
                        	  sprintf(TxBuffer, "button 5 pressed\n");
                        	                         		CDC_Transmit_FS(TxBuffer, TxBufferLen);
                        	                         		HAL_Delay(1000);
                        	  Set_DLow_and_DHigh_For_Channel(5);
                          }
                          else if(!HAL_GPIO_ReadPin(Ch6Button_GPIO_Port, Ch6Button_Pin)) {
                        	  HAL_Delay(50);
                        	  sprintf(TxBuffer, "button 6 pressed\n");
                        	                         		CDC_Transmit_FS(TxBuffer, TxBufferLen);
                        	                         		HAL_Delay(1000);
                        	  Set_DLow_and_DHigh_For_Channel(6);
                          }
                          else if(!HAL_GPIO_ReadPin(Ch7Button_GPIO_Port, Ch7Button_Pin)) {
                        	  HAL_Delay(50);
                        	  sprintf(TxBuffer, "button 7 pressed\n");
                        	                         		CDC_Transmit_FS(TxBuffer, TxBufferLen);
                        	                         		HAL_Delay(1000);
                        	  Set_DLow_and_DHigh_For_Channel(7);
                          }
                          else if(!HAL_GPIO_ReadPin(Ch8Button_GPIO_Port, Ch8Button_Pin)) {
                        	  HAL_Delay(50);
                        	  sprintf(TxBuffer, "button 8 pressed\n");
                        	                         		CDC_Transmit_FS(TxBuffer, TxBufferLen);
                        	                         		HAL_Delay(1000);
                        	  Set_DLow_and_DHigh_For_Channel(8);
                          }
                HAL_Delay(1000);

                // Check if setup button is pressed to exit setup state
                if (!HAL_GPIO_ReadPin(SetupButton_GPIO_Port, SetupButton_Pin)) {
                    HAL_Delay(50); // Debounce
                    if (!HAL_GPIO_ReadPin(SetupButton_GPIO_Port, SetupButton_Pin)) {  // Confirm button press
                        //HAL_Delay(50);
                    	sprintf(TxBuffer, "setup button pressed\n");
                    	                       		CDC_Transmit_FS(TxBuffer, TxBufferLen);
                    	                       		HAL_Delay(1000);
                        currentState = RUNNING_STATE;  // Exit setup mode
                    }
                }
                break;

            case RUNNING_STATE:
                updatePWMValues(channel_value);
                HAL_GPIO_WritePin(GPIOC, SetUpStatusLED_Pin, GPIO_PIN_RESET); // Setup LED ON
                Flash_LED();
                if (HAL_GPIO_ReadPin(SetupButton_GPIO_Port, SetupButton_Pin) == 0) {
                    HAL_Delay(50);
                    if(HAL_GPIO_ReadPin(SetupButton_GPIO_Port, SetupButton_Pin) == 0){
                    	sprintf(TxBuffer, "setup button pressed... RUN\n");
						CDC_Transmit_FS(TxBuffer, TxBufferLen);
						HAL_Delay(1000);
						//break;
                    	currentState = SETUP_STATE;
                    }
                }
                break;

            case ERROR_STATE:
                //  Error Handling
                HAL_GPIO_WritePin(GPIOC, SetUpStatusLED_Pin, GPIO_PIN_RESET);
                HAL_GPIO_WritePin(GPIOB, LED1_Pin, GPIO_PIN_SET); // Error LED ON

                // Reset system after error
                currentState = IDLE_STATE;
                break;

            default:
                currentState = ERROR_STATE;
                break;
        }
    }
}*/

void buttonTest(){

	while(1){
			uint8_t TxBuffer[50] = {'\0'};
			uint8_t TxBufferLen = 50;

			 if(!HAL_GPIO_ReadPin(Ch1Button_GPIO_Port, Ch1Button_Pin)) {
				 sprintf(TxBuffer, "CH1 BUTTON PRESSED");
				 		CDC_Transmit_FS(TxBuffer, TxBufferLen);
				 		//HAL_Delay(100);

		      }
			  else if(!HAL_GPIO_ReadPin(Ch2Button_GPIO_Port, Ch2Button_Pin)) {
				  sprintf(TxBuffer, "CH2 BUTTON PRESSED");
				 				 		CDC_Transmit_FS(TxBuffer, TxBufferLen);
				 				 		//HAL_Delay(100);
			  }
			  else if(!HAL_GPIO_ReadPin(Ch3Button_GPIO_Port, Ch3Button_Pin)) {
				  sprintf(TxBuffer, "CH3 BUTTON PRESSED");
				 				 		CDC_Transmit_FS(TxBuffer, TxBufferLen);
				 				 		//HAL_Delay(100);
			  }
			  else if(!HAL_GPIO_ReadPin(Ch4Button_GPIO_Port, Ch4Button_Pin)) {
				  sprintf(TxBuffer, "CH4 BUTTON PRESSED");
				 				 		CDC_Transmit_FS(TxBuffer, TxBufferLen);
				 				 		//HAL_Delay(100);
			  }
			  else if(!HAL_GPIO_ReadPin(Ch5Button_GPIO_Port, Ch5Button_Pin)) {
				  sprintf(TxBuffer, "CH5 BUTTON PRESSED");
				 				 		CDC_Transmit_FS(TxBuffer, TxBufferLen);
				 				 		//HAL_Delay(100);
			  }
			  else if(!HAL_GPIO_ReadPin(Ch6Button_GPIO_Port, Ch6Button_Pin)) {
				  sprintf(TxBuffer, "CH6 BUTTON PRESSED");
				 				 		CDC_Transmit_FS(TxBuffer, TxBufferLen);
				 				 		//HAL_Delay(100);
			  }
			  else if(!HAL_GPIO_ReadPin(Ch7Button_GPIO_Port, Ch7Button_Pin)) {
				  sprintf(TxBuffer, "CH7 BUTTON PRESSED");
				 				 		CDC_Transmit_FS(TxBuffer, TxBufferLen);
				 				 		//HAL_Delay(100);
			  }
			  else if(!HAL_GPIO_ReadPin(Ch8Button_GPIO_Port, Ch8Button_Pin)) {
				  sprintf(TxBuffer, "CH8 BUTTON PRESSED");
				 				 		CDC_Transmit_FS(TxBuffer, TxBufferLen);
				 				 		//HAL_Delay(100);
			  }
			  else if(!HAL_GPIO_ReadPin(GPIOA, GPIO_PIN_2)){
				  sprintf(TxBuffer, "setup button pressed");
				  CDC_Transmit_FS(TxBuffer, TxBufferLen);
				  //HAL_Delay(100);
			  }

	}
}

/* USER CODE END 0 */

int main(void)
{

  /* MCU Configuration--------------------------------------------------------*/

  /* Reset of all peripherals, Initializes the Flash interface and the Systick. */
  HAL_Init();

  /* Configure the system clock */
  SystemClock_Config();

  /* Initialize all configured peripherals */
  MX_GPIO_Init();
  MX_USB_DEVICE_Init();
  MX_TIM2_Init();
  MX_TIM3_Init();
  MX_TIM4_Init();
  MX_TIM8_Init();
  MX_TIM5_Init();
  /* USER CODE BEGIN 2 */
   HAL_TIM_PWM_Start(&htim2, TIM_CHANNEL_1);
   HAL_TIM_PWM_Start(&htim2, TIM_CHANNEL_2);

   HAL_TIM_PWM_Start(&htim3, TIM_CHANNEL_1);
   HAL_TIM_PWM_Start(&htim3, TIM_CHANNEL_2);

   HAL_TIM_PWM_Start(&htim4, TIM_CHANNEL_1);
   HAL_TIM_PWM_Start(&htim4, TIM_CHANNEL_2);

   HAL_TIM_PWM_Start(&htim8, TIM_CHANNEL_1);
   HAL_TIM_PWM_Start(&htim8, TIM_CHANNEL_3);

   HAL_TIM_Encoder_Start(&htim5, TIM_CHANNEL_ALL);

  /* USER CODE END 2 */

  /* Infinite loop */
  /* USER CODE BEGIN WHILE */

	  // Basic LED Blink Test to make sure that your MCU can be programmed.
//	   Flash_LED();

	  // Testing dynamic memory writing with just the user LED for testing
	  // Display_First_Channel_Smallest3Bits();

	  // PWM update call
	   //updatePWMValues(test);

	  // Test Rotary Encoder
	  // RotaryEncoderTest();

		  // CALIBRATION SECTION WOULD LOOK LIKE THIS:
		  // 1. SET ALL PWM DUTY CYCLE TO 0
		  TIM2->CCR1 = 9999;
		  TIM2->CCR2 = 9999;
		  TIM3->CCR1 = 9999;
		  TIM3->CCR2 = 9999;
		  TIM4->CCR1 = 9999;
		  TIM4->CCR2 = 9999;
		  TIM8->CCR1 = 9999;
		  TIM8->CCR3 = 9999;
		  // TODO: Rest of timer here...

		  // 2. If there's button press, call Set_DLow_and_DHigh_For_Channel for that button
		  // Note that Set_DLow_and_DHigh_For_Channel() is a BLOCKING FUNCTION. Only external things like PWM runs

		  System_Run();
		  /*if(!HAL_GPIO_ReadPin(Ch1Button_GPIO_Port, Ch1Button_Pin)) {
			  Set_DLow_and_DHigh_For_Channel(1);
		  }
		  else if(!HAL_GPIO_ReadPin(Ch2Button_GPIO_Port, Ch2Button_Pin)) {
			  Set_DLow_and_DHigh_For_Channel(2);
		  }
		  else if(!HAL_GPIO_ReadPin(Ch3Button_GPIO_Port, Ch3Button_Pin)) {
			  Set_DLow_and_DHigh_For_Channel(3);
		  }
		  else if(!HAL_GPIO_ReadPin(Ch4Button_GPIO_Port, Ch4Button_Pin)) {
			  Set_DLow_and_DHigh_For_Channel(4);
		  }
		  else if(!HAL_GPIO_ReadPin(Ch5Button_GPIO_Port, Ch5Button_Pin)) {
			  Set_DLow_and_DHigh_For_Channel(5);
		  }
		  else if(!HAL_GPIO_ReadPin(Ch6Button_GPIO_Port, Ch6Button_Pin)) {
			  Set_DLow_and_DHigh_For_Channel(6);
		  }
		  else if(!HAL_GPIO_ReadPin(Ch7Button_GPIO_Port, Ch7Button_Pin)) {
			  Set_DLow_and_DHigh_For_Channel(7);
		  }
		  else if(!HAL_GPIO_ReadPin(Ch8Button_GPIO_Port, Ch8Button_Pin)) {
			  Set_DLow_and_DHigh_For_Channel(8);
		  }

		  // 3. If there's a button press for going to operation mode, get out of Setup state.
		  else if(!HAL_GPIO_ReadPin(SetupButton_GPIO_Port, SetupButton_Pin)){
			  // TODO: Write Code that switches state machine
		  }

		  // Otherwise just loop and wait for button presses
	  }*/

    /* USER CODE END WHILE */

    /* USER CODE BEGIN 3 */
		  while(1){
			  // Basic LED Blink Test to make sure that your MCU can be programmed.
			  	   //Flash_LED();
			  // PWM update call
			  	  //updatePWMValues(channel_value);
			  	 //updatePWMValues(test);
			  // Test Rotary Encoder
			  	  //RotaryEncoderTest();
			  	  //buttonTest();
		  }
		  return 0;
  /* USER CODE END 3 */
}

void SystemClock_Config(void)
{
  RCC_OscInitTypeDef RCC_OscInitStruct = {0};
  RCC_ClkInitTypeDef RCC_ClkInitStruct = {0};

  /** Configure the main internal regulator output voltage
  */
  __HAL_RCC_PWR_CLK_ENABLE();
  __HAL_PWR_VOLTAGESCALING_CONFIG(PWR_REGULATOR_VOLTAGE_SCALE3);

  /** Initializes the RCC Oscillators according to the specified parameters
  * in the RCC_OscInitTypeDef structure.
  */
  RCC_OscInitStruct.OscillatorType = RCC_OSCILLATORTYPE_HSE;
  RCC_OscInitStruct.HSEState = RCC_HSE_ON;
  RCC_OscInitStruct.PLL.PLLState = RCC_PLL_ON;
  RCC_OscInitStruct.PLL.PLLSource = RCC_PLLSOURCE_HSE;
  RCC_OscInitStruct.PLL.PLLM = 4;
  RCC_OscInitStruct.PLL.PLLN = 96;
  RCC_OscInitStruct.PLL.PLLP = RCC_PLLP_DIV6;
  RCC_OscInitStruct.PLL.PLLQ = 4;
  RCC_OscInitStruct.PLL.PLLR = 2;
  if (HAL_RCC_OscConfig(&RCC_OscInitStruct) != HAL_OK)
  {
    Error_Handler();
  }

  /** Initializes the CPU, AHB and APB buses clocks
  */
  RCC_ClkInitStruct.ClockType = RCC_CLOCKTYPE_HCLK|RCC_CLOCKTYPE_SYSCLK
                              |RCC_CLOCKTYPE_PCLK1|RCC_CLOCKTYPE_PCLK2;
  RCC_ClkInitStruct.SYSCLKSource = RCC_SYSCLKSOURCE_PLLCLK;
  RCC_ClkInitStruct.AHBCLKDivider = RCC_SYSCLK_DIV2;
  RCC_ClkInitStruct.APB1CLKDivider = RCC_HCLK_DIV1;
  RCC_ClkInitStruct.APB2CLKDivider = RCC_HCLK_DIV1;

  if (HAL_RCC_ClockConfig(&RCC_ClkInitStruct, FLASH_LATENCY_0) != HAL_OK)
  {
    Error_Handler();
  }
}

static void MX_TIM2_Init(void)
{

  TIM_ClockConfigTypeDef sClockSourceConfig = {0};
  TIM_MasterConfigTypeDef sMasterConfig = {0};
  TIM_OC_InitTypeDef sConfigOC = {0};

  htim2.Instance = TIM2;
  htim2.Init.Prescaler = 7;
  htim2.Init.CounterMode = TIM_COUNTERMODE_UP;
  htim2.Init.Period = 9999;
  htim2.Init.ClockDivision = TIM_CLOCKDIVISION_DIV1;
  htim2.Init.AutoReloadPreload = TIM_AUTORELOAD_PRELOAD_ENABLE;
  if (HAL_TIM_Base_Init(&htim2) != HAL_OK)
  {
    Error_Handler();
  }
  sClockSourceConfig.ClockSource = TIM_CLOCKSOURCE_INTERNAL;
  if (HAL_TIM_ConfigClockSource(&htim2, &sClockSourceConfig) != HAL_OK)
  {
    Error_Handler();
  }
  if (HAL_TIM_PWM_Init(&htim2) != HAL_OK)
  {
    Error_Handler();
  }
  sMasterConfig.MasterOutputTrigger = TIM_TRGO_RESET;
  sMasterConfig.MasterSlaveMode = TIM_MASTERSLAVEMODE_DISABLE;
  if (HAL_TIMEx_MasterConfigSynchronization(&htim2, &sMasterConfig) != HAL_OK)
  {
    Error_Handler();
  }
  sConfigOC.OCMode = TIM_OCMODE_PWM1;
  sConfigOC.Pulse = 0;
  sConfigOC.OCPolarity = TIM_OCPOLARITY_HIGH;
  sConfigOC.OCFastMode = TIM_OCFAST_DISABLE;
  if (HAL_TIM_PWM_ConfigChannel(&htim2, &sConfigOC, TIM_CHANNEL_1) != HAL_OK)
  {
    Error_Handler();
  }
  if (HAL_TIM_PWM_ConfigChannel(&htim2, &sConfigOC, TIM_CHANNEL_2) != HAL_OK)
  {
    Error_Handler();
  }
  HAL_TIM_MspPostInit(&htim2);

}

static void MX_TIM3_Init(void)
{

  TIM_ClockConfigTypeDef sClockSourceConfig = {0};
  TIM_MasterConfigTypeDef sMasterConfig = {0};
  TIM_OC_InitTypeDef sConfigOC = {0};

  htim3.Instance = TIM3;
  htim3.Init.Prescaler = 7;
  htim3.Init.CounterMode = TIM_COUNTERMODE_UP;
  htim3.Init.Period = 9999;
  htim3.Init.ClockDivision = TIM_CLOCKDIVISION_DIV1;
  htim3.Init.AutoReloadPreload = TIM_AUTORELOAD_PRELOAD_ENABLE;
  if (HAL_TIM_Base_Init(&htim3) != HAL_OK)
  {
    Error_Handler();
  }
  sClockSourceConfig.ClockSource = TIM_CLOCKSOURCE_INTERNAL;
  if (HAL_TIM_ConfigClockSource(&htim3, &sClockSourceConfig) != HAL_OK)
  {
    Error_Handler();
  }
  if (HAL_TIM_PWM_Init(&htim3) != HAL_OK)
  {
    Error_Handler();
  }
  sMasterConfig.MasterOutputTrigger = TIM_TRGO_RESET;
  sMasterConfig.MasterSlaveMode = TIM_MASTERSLAVEMODE_DISABLE;
  if (HAL_TIMEx_MasterConfigSynchronization(&htim3, &sMasterConfig) != HAL_OK)
  {
    Error_Handler();
  }
  sConfigOC.OCMode = TIM_OCMODE_PWM1;
  sConfigOC.Pulse = 0;
  sConfigOC.OCPolarity = TIM_OCPOLARITY_HIGH;
  sConfigOC.OCFastMode = TIM_OCFAST_DISABLE;
  if (HAL_TIM_PWM_ConfigChannel(&htim3, &sConfigOC, TIM_CHANNEL_1) != HAL_OK)
  {
    Error_Handler();
  }
  if (HAL_TIM_PWM_ConfigChannel(&htim3, &sConfigOC, TIM_CHANNEL_2) != HAL_OK)
  {
    Error_Handler();
  }
  HAL_TIM_MspPostInit(&htim3);

}

static void MX_TIM4_Init(void)
{

  TIM_ClockConfigTypeDef sClockSourceConfig = {0};
  TIM_MasterConfigTypeDef sMasterConfig = {0};
  TIM_OC_InitTypeDef sConfigOC = {0};

  htim4.Instance = TIM4;
  htim4.Init.Prescaler = 7;
  htim4.Init.CounterMode = TIM_COUNTERMODE_UP;
  htim4.Init.Period = 9999;
  htim4.Init.ClockDivision = TIM_CLOCKDIVISION_DIV1;
  htim4.Init.AutoReloadPreload = TIM_AUTORELOAD_PRELOAD_ENABLE;
  if (HAL_TIM_Base_Init(&htim4) != HAL_OK)
  {
    Error_Handler();
  }
  sClockSourceConfig.ClockSource = TIM_CLOCKSOURCE_INTERNAL;
  if (HAL_TIM_ConfigClockSource(&htim4, &sClockSourceConfig) != HAL_OK)
  {
    Error_Handler();
  }
  if (HAL_TIM_PWM_Init(&htim4) != HAL_OK)
  {
    Error_Handler();
  }
  sMasterConfig.MasterOutputTrigger = TIM_TRGO_RESET;
  sMasterConfig.MasterSlaveMode = TIM_MASTERSLAVEMODE_DISABLE;
  if (HAL_TIMEx_MasterConfigSynchronization(&htim4, &sMasterConfig) != HAL_OK)
  {
    Error_Handler();
  }
  sConfigOC.OCMode = TIM_OCMODE_PWM1;
  sConfigOC.Pulse = 0;
  sConfigOC.OCPolarity = TIM_OCPOLARITY_HIGH;
  sConfigOC.OCFastMode = TIM_OCFAST_DISABLE;
  if (HAL_TIM_PWM_ConfigChannel(&htim4, &sConfigOC, TIM_CHANNEL_1) != HAL_OK)
  {
    Error_Handler();
  }
  if (HAL_TIM_PWM_ConfigChannel(&htim4, &sConfigOC, TIM_CHANNEL_2) != HAL_OK)
  {
    Error_Handler();
  }
  HAL_TIM_MspPostInit(&htim4);

}

static void MX_TIM5_Init(void)
{

  TIM_Encoder_InitTypeDef sConfig = {0};
  TIM_MasterConfigTypeDef sMasterConfig = {0};

  htim5.Instance = TIM5;
  htim5.Init.Prescaler = 0;
  htim5.Init.CounterMode = TIM_COUNTERMODE_UP;
  htim5.Init.Period = 1020;
  htim5.Init.ClockDivision = TIM_CLOCKDIVISION_DIV1;
  htim5.Init.AutoReloadPreload = TIM_AUTORELOAD_PRELOAD_DISABLE;
  sConfig.EncoderMode = TIM_ENCODERMODE_TI12;
  sConfig.IC1Polarity = TIM_ICPOLARITY_RISING;
  sConfig.IC1Selection = TIM_ICSELECTION_DIRECTTI;
  sConfig.IC1Prescaler = TIM_ICPSC_DIV1;
  sConfig.IC1Filter = 10;
  sConfig.IC2Polarity = TIM_ICPOLARITY_RISING;
  sConfig.IC2Selection = TIM_ICSELECTION_DIRECTTI;
  sConfig.IC2Prescaler = TIM_ICPSC_DIV1;
  sConfig.IC2Filter = 0;
  if (HAL_TIM_Encoder_Init(&htim5, &sConfig) != HAL_OK)
  {
    Error_Handler();
  }
  sMasterConfig.MasterOutputTrigger = TIM_TRGO_RESET;
  sMasterConfig.MasterSlaveMode = TIM_MASTERSLAVEMODE_DISABLE;
  if (HAL_TIMEx_MasterConfigSynchronization(&htim5, &sMasterConfig) != HAL_OK)
  {
    Error_Handler();
  }

}

static void MX_TIM8_Init(void)
{

  TIM_ClockConfigTypeDef sClockSourceConfig = {0};
  TIM_MasterConfigTypeDef sMasterConfig = {0};
  TIM_OC_InitTypeDef sConfigOC = {0};
  TIM_BreakDeadTimeConfigTypeDef sBreakDeadTimeConfig = {0};

  htim8.Instance = TIM8;
  htim8.Init.Prescaler = 7;
  htim8.Init.CounterMode = TIM_COUNTERMODE_UP;
  htim8.Init.Period = 9999;
  htim8.Init.ClockDivision = TIM_CLOCKDIVISION_DIV1;
  htim8.Init.RepetitionCounter = 0;
  htim8.Init.AutoReloadPreload = TIM_AUTORELOAD_PRELOAD_ENABLE;
  if (HAL_TIM_Base_Init(&htim8) != HAL_OK)
  {
    Error_Handler();
  }
  sClockSourceConfig.ClockSource = TIM_CLOCKSOURCE_INTERNAL;
  if (HAL_TIM_ConfigClockSource(&htim8, &sClockSourceConfig) != HAL_OK)
  {
    Error_Handler();
  }
  if (HAL_TIM_PWM_Init(&htim8) != HAL_OK)
  {
    Error_Handler();
  }
  sMasterConfig.MasterOutputTrigger = TIM_TRGO_RESET;
  sMasterConfig.MasterSlaveMode = TIM_MASTERSLAVEMODE_DISABLE;
  if (HAL_TIMEx_MasterConfigSynchronization(&htim8, &sMasterConfig) != HAL_OK)
  {
    Error_Handler();
  }
  sConfigOC.OCMode = TIM_OCMODE_PWM1;
  sConfigOC.Pulse = 0;
  sConfigOC.OCPolarity = TIM_OCPOLARITY_HIGH;
  sConfigOC.OCNPolarity = TIM_OCNPOLARITY_HIGH;
  sConfigOC.OCFastMode = TIM_OCFAST_DISABLE;
  sConfigOC.OCIdleState = TIM_OCIDLESTATE_RESET;
  sConfigOC.OCNIdleState = TIM_OCNIDLESTATE_RESET;
  if (HAL_TIM_PWM_ConfigChannel(&htim8, &sConfigOC, TIM_CHANNEL_1) != HAL_OK)
  {
    Error_Handler();
  }
  if (HAL_TIM_PWM_ConfigChannel(&htim8, &sConfigOC, TIM_CHANNEL_3) != HAL_OK)
  {
    Error_Handler();
  }
  sBreakDeadTimeConfig.OffStateRunMode = TIM_OSSR_DISABLE;
  sBreakDeadTimeConfig.OffStateIDLEMode = TIM_OSSI_DISABLE;
  sBreakDeadTimeConfig.LockLevel = TIM_LOCKLEVEL_OFF;
  sBreakDeadTimeConfig.DeadTime = 0;
  sBreakDeadTimeConfig.BreakState = TIM_BREAK_DISABLE;
  sBreakDeadTimeConfig.BreakPolarity = TIM_BREAKPOLARITY_HIGH;
  sBreakDeadTimeConfig.AutomaticOutput = TIM_AUTOMATICOUTPUT_DISABLE;
  if (HAL_TIMEx_ConfigBreakDeadTime(&htim8, &sBreakDeadTimeConfig) != HAL_OK)
  {
    Error_Handler();
  }
  HAL_TIM_MspPostInit(&htim8);

}

static void MX_GPIO_Init(void)
{
  GPIO_InitTypeDef GPIO_InitStruct = {0};

  /* GPIO Ports Clock Enable */
  __HAL_RCC_GPIOE_CLK_ENABLE();
  __HAL_RCC_GPIOC_CLK_ENABLE();
  __HAL_RCC_GPIOF_CLK_ENABLE();
  __HAL_RCC_GPIOH_CLK_ENABLE();
  __HAL_RCC_GPIOA_CLK_ENABLE();
  __HAL_RCC_GPIOB_CLK_ENABLE();
  __HAL_RCC_GPIOG_CLK_ENABLE();
  __HAL_RCC_GPIOD_CLK_ENABLE();

  /*Configure GPIO pin Output Level */
  HAL_GPIO_WritePin(GPIOE, Ch1LowLED_Pin|Ch1HighLED_Pin|LevelLED1_Pin|LevelLED2_Pin
                          |LevelLED3_Pin|LevelLED4_Pin|LevelLED5_Pin, GPIO_PIN_RESET);

  /*Configure GPIO pin Output Level */
  HAL_GPIO_WritePin(GPIOC, Ch2LowLED_Pin|Ch2HighLED_Pin|SetUpStatusLED_Pin, GPIO_PIN_RESET);

  /*Configure GPIO pin Output Level */
  HAL_GPIO_WritePin(GPIOF, Ch3LowLED_Pin|Ch3HighLED_Pin|Ch7LowLED_Pin|Ch7HighLED_Pin
                          |Ch8LowLED_Pin, GPIO_PIN_RESET);

  /*Configure GPIO pin Output Level */
  HAL_GPIO_WritePin(GPIOB, LED1_Pin|LevelLED6_Pin|LevelLED7_Pin|LevelLED8_Pin
                          |LevelLED9_Pin|LED2_Pin, GPIO_PIN_RESET);

  /*Configure GPIO pin Output Level */
  HAL_GPIO_WritePin(GPIOG, Ch8HighLED_Pin|Ch4HighLED_Pin|Ch4LowLED_Pin|Ch5HighLED_Pin
                          |Ch5LowLED_Pin, GPIO_PIN_RESET);

  /*Configure GPIO pin Output Level */
  HAL_GPIO_WritePin(GPIOD, LevelLED10_Pin|LevelLED11_Pin|LevelLED12_Pin|Ch6LowLED_Pin
                          |Ch6HighLED_Pin, GPIO_PIN_RESET);

  /*Configure GPIO pin Output Level */
  HAL_GPIO_WritePin(LED3_GPIO_Port, LED3_Pin, GPIO_PIN_RESET);

  /*Configure GPIO pin : Ch1Button_Pin */
  GPIO_InitStruct.Pin = Ch1Button_Pin;
  GPIO_InitStruct.Mode = GPIO_MODE_INPUT;
  GPIO_InitStruct.Pull = GPIO_NOPULL;
  HAL_GPIO_Init(Ch1Button_GPIO_Port, &GPIO_InitStruct);

  /*Configure GPIO pins : Ch1LowLED_Pin Ch1HighLED_Pin LevelLED1_Pin LevelLED2_Pin
                           LevelLED3_Pin LevelLED4_Pin LevelLED5_Pin */
  GPIO_InitStruct.Pin = Ch1LowLED_Pin|Ch1HighLED_Pin|LevelLED1_Pin|LevelLED2_Pin
                          |LevelLED3_Pin|LevelLED4_Pin|LevelLED5_Pin;
  GPIO_InitStruct.Mode = GPIO_MODE_OUTPUT_PP;
  GPIO_InitStruct.Pull = GPIO_NOPULL;
  GPIO_InitStruct.Speed = GPIO_SPEED_FREQ_LOW;
  HAL_GPIO_Init(GPIOE, &GPIO_InitStruct);

  /*Configure GPIO pin : Ch2Button_Pin */
  GPIO_InitStruct.Pin = Ch2Button_Pin;
  GPIO_InitStruct.Mode = GPIO_MODE_INPUT;
  GPIO_InitStruct.Pull = GPIO_NOPULL;
  HAL_GPIO_Init(Ch2Button_GPIO_Port, &GPIO_InitStruct);

  /*Configure GPIO pins : Ch2LowLED_Pin Ch2HighLED_Pin SetUpStatusLED_Pin */
  GPIO_InitStruct.Pin = Ch2LowLED_Pin|Ch2HighLED_Pin|SetUpStatusLED_Pin;
  GPIO_InitStruct.Mode = GPIO_MODE_OUTPUT_PP;
  GPIO_InitStruct.Pull = GPIO_NOPULL;
  GPIO_InitStruct.Speed = GPIO_SPEED_FREQ_LOW;
  HAL_GPIO_Init(GPIOC, &GPIO_InitStruct);

  /*Configure GPIO pins : Ch3Button_Pin Ch8Button_Pin */
  GPIO_InitStruct.Pin = Ch3Button_Pin|Ch8Button_Pin;
  GPIO_InitStruct.Mode = GPIO_MODE_INPUT;
  GPIO_InitStruct.Pull = GPIO_NOPULL;
  HAL_GPIO_Init(GPIOF, &GPIO_InitStruct);

  /*Configure GPIO pins : Ch3LowLED_Pin Ch3HighLED_Pin Ch7LowLED_Pin Ch7HighLED_Pin
                           Ch8LowLED_Pin */
  GPIO_InitStruct.Pin = Ch3LowLED_Pin|Ch3HighLED_Pin|Ch7LowLED_Pin|Ch7HighLED_Pin
                          |Ch8LowLED_Pin;
  GPIO_InitStruct.Mode = GPIO_MODE_OUTPUT_PP;
  GPIO_InitStruct.Pull = GPIO_NOPULL;
  GPIO_InitStruct.Speed = GPIO_SPEED_FREQ_LOW;
  HAL_GPIO_Init(GPIOF, &GPIO_InitStruct);

  /*Configure GPIO pin : SetupButton_Pin */
  GPIO_InitStruct.Pin = SetupButton_Pin;
  GPIO_InitStruct.Mode = GPIO_MODE_INPUT;
  GPIO_InitStruct.Pull = GPIO_NOPULL;
  HAL_GPIO_Init(SetupButton_GPIO_Port, &GPIO_InitStruct);

  /*Configure GPIO pins : LED1_Pin LevelLED6_Pin LevelLED7_Pin LevelLED8_Pin
                           LevelLED9_Pin LED2_Pin */
  GPIO_InitStruct.Pin = LED1_Pin|LevelLED6_Pin|LevelLED7_Pin|LevelLED8_Pin
                          |LevelLED9_Pin|LED2_Pin;
  GPIO_InitStruct.Mode = GPIO_MODE_OUTPUT_PP;
  GPIO_InitStruct.Pull = GPIO_NOPULL;
  GPIO_InitStruct.Speed = GPIO_SPEED_FREQ_LOW;
  HAL_GPIO_Init(GPIOB, &GPIO_InitStruct);

  /*Configure GPIO pin : Ch7Button_Pin */
  GPIO_InitStruct.Pin = Ch7Button_Pin;
  GPIO_InitStruct.Mode = GPIO_MODE_INPUT;
  GPIO_InitStruct.Pull = GPIO_NOPULL;
  HAL_GPIO_Init(Ch7Button_GPIO_Port, &GPIO_InitStruct);

  /*Configure GPIO pins : Ch8HighLED_Pin Ch4HighLED_Pin Ch4LowLED_Pin Ch5HighLED_Pin
                           Ch5LowLED_Pin */
  GPIO_InitStruct.Pin = Ch8HighLED_Pin|Ch4HighLED_Pin|Ch4LowLED_Pin|Ch5HighLED_Pin
                          |Ch5LowLED_Pin;
  GPIO_InitStruct.Mode = GPIO_MODE_OUTPUT_PP;
  GPIO_InitStruct.Pull = GPIO_NOPULL;
  GPIO_InitStruct.Speed = GPIO_SPEED_FREQ_LOW;
  HAL_GPIO_Init(GPIOG, &GPIO_InitStruct);

  /*Configure GPIO pins : LevelLED10_Pin LevelLED11_Pin LevelLED12_Pin Ch6LowLED_Pin
                           Ch6HighLED_Pin */
  GPIO_InitStruct.Pin = LevelLED10_Pin|LevelLED11_Pin|LevelLED12_Pin|Ch6LowLED_Pin
                          |Ch6HighLED_Pin;
  GPIO_InitStruct.Mode = GPIO_MODE_OUTPUT_PP;
  GPIO_InitStruct.Pull = GPIO_NOPULL;
  GPIO_InitStruct.Speed = GPIO_SPEED_FREQ_LOW;
  HAL_GPIO_Init(GPIOD, &GPIO_InitStruct);

  /*Configure GPIO pins : Ch4Button_Pin Ch5Button_Pin */
  GPIO_InitStruct.Pin = Ch4Button_Pin|Ch5Button_Pin;
  GPIO_InitStruct.Mode = GPIO_MODE_INPUT;
  GPIO_InitStruct.Pull = GPIO_NOPULL;
  HAL_GPIO_Init(GPIOG, &GPIO_InitStruct);

  /*Configure GPIO pin : LED3_Pin */
  GPIO_InitStruct.Pin = LED3_Pin;
  GPIO_InitStruct.Mode = GPIO_MODE_OUTPUT_PP;
  GPIO_InitStruct.Pull = GPIO_NOPULL;
  GPIO_InitStruct.Speed = GPIO_SPEED_FREQ_LOW;
  HAL_GPIO_Init(LED3_GPIO_Port, &GPIO_InitStruct);

  /*Configure GPIO pin : Ch6Button_Pin */
  GPIO_InitStruct.Pin = Ch6Button_Pin;
  GPIO_InitStruct.Mode = GPIO_MODE_INPUT;
  GPIO_InitStruct.Pull = GPIO_NOPULL;
  HAL_GPIO_Init(Ch6Button_GPIO_Port, &GPIO_InitStruct);

}

void Error_Handler(void)
{
  __disable_irq();
  while (1)
  {
  }
}
